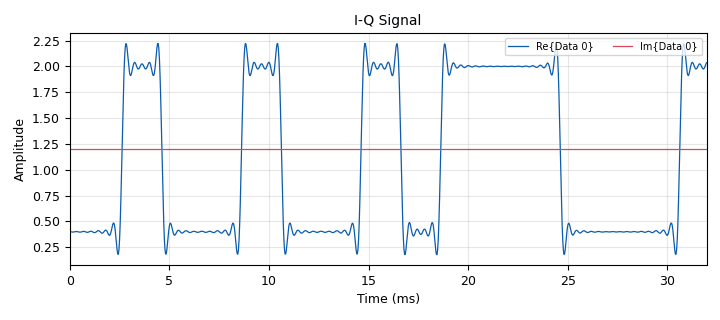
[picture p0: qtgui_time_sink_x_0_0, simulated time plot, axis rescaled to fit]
<?xml version='1.0' encoding='utf-8'?>
<?grc format='1' created='3.7.10'?>
<flow_graph>
<block>
<key>options</key>
<param><key>id</key><value>top_block</value></param>
<param><key>generate_options</key><value>qt_gui</value></param>
</block>
<block>
<key>variable_qtgui_range</key>
<param><key>id</key><value>offset</value></param>
<param><key>value</key><value>1.2</value></param>
<param><key>label</key><value>offset</value></param>
<param><key>orient</key><value>Qt.Horizontal</value></param>
<param><key>start</key><value>0</value></param>
<param><key>step</key><value>0.0100</value></param>
<param><key>stop</key><value>2</value></param>
</block>
<block>
<key>variable</key>
<param><key>id</key><value>samp_rate</value></param>
<param><key>value</key><value>32000</value></param>
</block>
<block>
<key>analog_const_source_x</key>
<param><key>id</key><value>analog_const_source_x_0</value></param>
<param><key>const</key><value>offset+1.2j</value></param>
<param><key>type</key><value>complex</value></param>
</block>
<block>
<key>blocks_add_xx</key>
<param><key>id</key><value>blocks_add_xx_0</value></param>
<param><key>type</key><value>complex</value></param>
</block>
<block>
<key>blocks_multiply_const_vxx</key>
<param><key>id</key><value>blocks_multiply_const_vxx_0</value></param>
<param><key>const</key><value>0.800</value></param>
<param><key>type</key><value>complex</value></param>
</block>
<block>
<key>blocks_throttle</key>
<param><key>id</key><value>blocks_throttle_0</value></param>
<param><key>samples_per_second</key><value>samp_rate</value></param>
<param><key>type</key><value>byte</value></param>
</block>
<block>
<key>blocks_vector_source_x</key>
<param><key>id</key><value>blocks_vector_source_x_0_0</value></param>
<param><key>type</key><value>byte</value></param>
<param><key>repeat</key><value>True</value></param>
<param><key>vector</key><value>(1, 0, 1,1,1,0,0,1,0,0,1,1,0,1)</value></param>
</block>
<block>
<key>digital_dxpsk_mod</key>
<param><key>id</key><value>digital_dxpsk_mod_0</value></param>
<param><key>excess_bw</key><value>0.35</value></param>
<param><key>mod_code</key><value>"gray"</value></param>
<param><key>log</key><value>False</value></param>
<param><key>samples_per_symbol</key><value>8</value></param>
<param><key>type</key><value>dbpsk</value></param>
<param><key>verbose</key><value>False</value></param>
</block>
<block>
<key>qtgui_time_sink_x</key>
<param><key>id</key><value>qtgui_time_sink_x_0_0</value></param>
<param><key>color1</key><value>"blue"</value></param>
<param><key>label1</key><value></value></param>
<param><key>color2</key><value>"red"</value></param>
<param><key>label2</key><value></value></param>
<param><key>name</key><value>I-Q Signal</value></param>
<param><key>size</key><value>1024</value></param>
<param><key>srate</key><value>samp_rate</value></param>
<param><key>type</key><value>complex</value></param>
</block>
<block>
<key>red_pitaya_wide_sink</key>
<param><key>id</key><value>red_pitaya_wide_sink_1_0</value></param>
<param><key>addr</key><value>192.168.1.100</value></param>
<param><key>freq</key><value>0</value></param>
<param><key>corr</key><value>0</value></param>
<param><key>mask</key><value>3</value></param>
<param><key>ptt</key><value>True</value></param>
<param><key>port</key><value>1001</value></param>
<param><key>rate</key><value>100000</value></param>
</block>
<connection><source_block_id>analog_const_source_x_0</source_block_id><sink_block_id>blocks_add_xx_0</sink_block_id><source_key>0</source_key><sink_key>1</sink_key></connection>
<connection><source_block_id>blocks_add_xx_0</source_block_id><sink_block_id>qtgui_time_sink_x_0_0</sink_block_id><source_key>0</source_key><sink_key>0</sink_key></connection>
<connection><source_block_id>blocks_add_xx_0</source_block_id><sink_block_id>red_pitaya_wide_sink_1_0</sink_block_id><source_key>0</source_key><sink_key>0</sink_key></connection>
<connection><source_block_id>blocks_multiply_const_vxx_0</source_block_id><sink_block_id>blocks_add_xx_0</sink_block_id><source_key>0</source_key><sink_key>0</sink_key></connection>
<connection><source_block_id>blocks_throttle_0</source_block_id><sink_block_id>digital_dxpsk_mod_0</sink_block_id><source_key>0</source_key><sink_key>0</sink_key></connection>
<connection><source_block_id>blocks_vector_source_x_0_0</source_block_id><sink_block_id>blocks_throttle_0</sink_block_id><source_key>0</source_key><sink_key>0</sink_key></connection>
<connection><source_block_id>digital_dxpsk_mod_0</source_block_id><sink_block_id>blocks_multiply_const_vxx_0</sink_block_id><source_key>0</source_key><sink_key>0</sink_key></connection>
</flow_graph>
